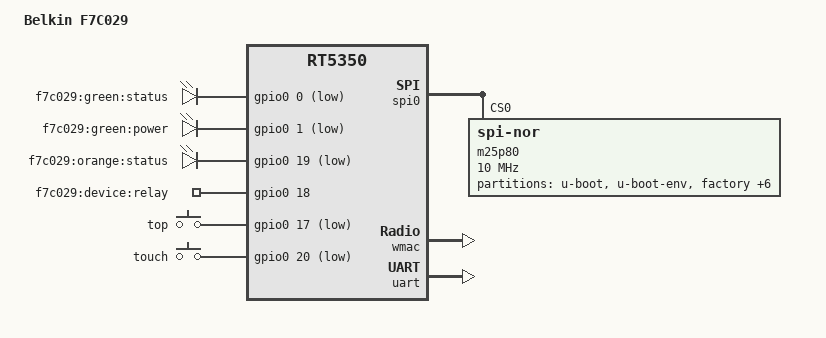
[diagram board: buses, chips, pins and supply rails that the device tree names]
/dts-v1/;

#include "rt5350.dtsi"

#include <dt-bindings/gpio/gpio.h>
#include <dt-bindings/input/input.h>

/ {
	compatible = "belkin,f7c029", "ralink,rt5350-soc";
	model = "Belkin F7C029";

	aliases {
		serial1 = &uart;
		led-boot = &led_status_orange;
		led-failsafe = &led_status_orange;
		led-running = &led_status_orange;
		led-upgrade = &led_status_orange;
	};

	leds {
		compatible = "gpio-leds";

		status {
			label = "f7c029:green:status";
			gpios = <&gpio0 0 GPIO_ACTIVE_LOW>;
		};

		power {
			label = "f7c029:green:power";
			gpios = <&gpio0 1 GPIO_ACTIVE_LOW>;
		};

		led_status_orange: orange {
			label = "f7c029:orange:status";
			gpios = <&gpio0 19 GPIO_ACTIVE_LOW>;
		};

		relay {
			label = "f7c029:device:relay";
			gpios = <&gpio0 18 GPIO_ACTIVE_HIGH>;
		};
	};

	keys {
		compatible = "gpio-keys-polled";
		poll-interval = <20>;

		top {
			label = "top";
			gpios = <&gpio0 17 GPIO_ACTIVE_LOW>;
			linux,code = <BTN_0>;
		};

		touch {
			label = "touch";
			gpios = <&gpio0 20 GPIO_ACTIVE_LOW>;
			linux,code = <BTN_1>;
		};
	};
};

&spi0 {
	status = "okay";

	m25p80@0 {
		compatible = "jedec,spi-nor";
		reg = <0>;
		spi-max-frequency = <10000000>;

		partitions {
			compatible = "fixed-partitions";
			#address-cells = <1>;
			#size-cells = <1>;

			partition@0 {
				label = "u-boot";
				reg = <0x0 0x30000>;
				read-only;
			};

			partition@30000 {
				label = "u-boot-env";
				reg = <0x30000 0x10000>;
				read-only;
			};

			factory: partition@40000 {
				label = "factory";
				reg = <0x40000 0x10000>;
				read-only;
			};

			partition@50000 {
				compatible = "denx,uimage";
				label = "firmware";
				reg = <0x50000 0x770000>;
			};

			partition@7c0000 {
				label = "firmware2";
				reg = <0x7c0000 0x770000>;
				read-only;
			};

			partition@f30000 {
				label = "belkin_settings";
				reg = <0xf30000 0xa0000>;
				read-only;
			};

			partition@fd0000 {
				label = "unknown";
				reg = <0xfd0000 0x10000>;
				read-only;
			};

			partition@fe0000 {
				label = "nvram";
				reg = <0xfe0000 0x10000>;
				read-only;
			};

			partition@ff0000 {
				label = "user_factory";
				reg = <0xff0000 0x10000>;
				read-only;
			};
		};
	};
};

&wmac {
	ralink,mtd-eeprom = <&factory 0>;
};

&pinctrl {
	state_default: pinctrl0 {
		gpio {
			ralink,group = "i2c", "jtag";
			ralink,function = "gpio";
		};

		uartf {
			ralink,group = "uartf";
			ralink,function = "gpio uartf";
		};
	};
};

&ethernet {
	status = "disabled";
};

&esw {
	status = "disabled";
};

&uart {
	status = "ok";
};
